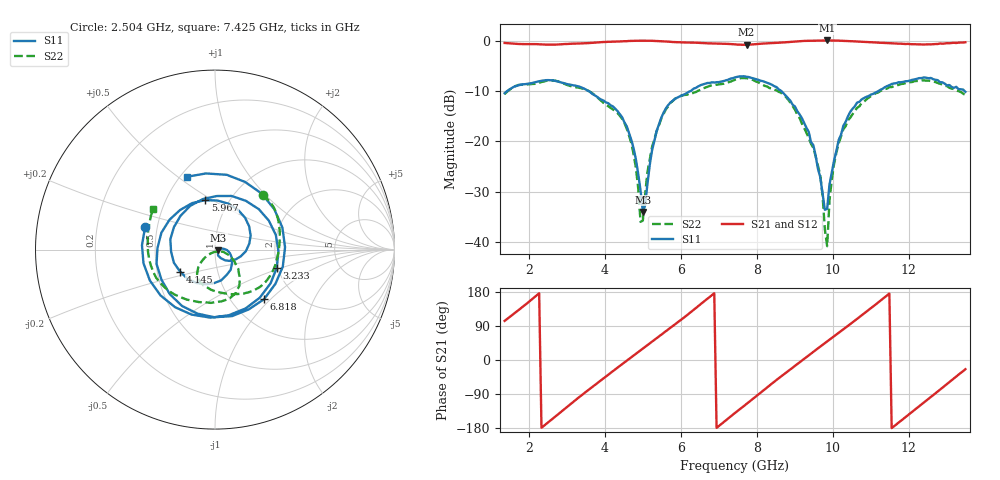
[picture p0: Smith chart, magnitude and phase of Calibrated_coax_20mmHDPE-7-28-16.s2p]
!Agilent Technologies,N5230C,MY48100320,A.08.04.10
!Agilent N5230C: A.08.04.10
!Date: Friday, July 29, 2016 03:03:13
!Correction: S11(Full 2 Port(1,2))
!S21(Full 2 Port(1,2))
!S12(Full 2 Port(1,2))
!S22(Full 2 Port(1,2))
!S2P File: Measurements: S11, S21, S12, S22:
# Hz S  dB  R 50
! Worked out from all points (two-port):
!   201 points, 1.35 GHz to 13.5 GHz, reference 50 ohm
!   highest |S21| = 0.13 dB at 9.855 GHz (marker M1); lowest = -0.7 dB at 7.729 GHz (marker M2)
!   |S21| within 3 dB of the highest: start of sweep to end of sweep
!   lowest |S11| = -34.1 dB at 4.995 GHz (marker M3), VSWR 1.04, Z = 52 - j0.387 ohm
!   |S11| at or under -10 dB: start of sweep to 1.408 GHz; 3.574 GHz to 6.235 GHz (2.661 GHz wide, 54.3 % of centre); 8.654 GHz to 11.2 GHz (2.543 GHz wide, 25.6 % of centre)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
!   |S22| runs from -40.9 to -7.3 dB; largest |S21 - S12| = 0.0029
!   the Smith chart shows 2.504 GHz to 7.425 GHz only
!   S11 on the Smith chart (normalised r, x): 2.504 GHz: 0.43, +0.13; 3.233 GHz: 1.98, -0.46; 4.145 GHz: 0.66, -0.17; 5.967 GHz: 0.78, +0.46; 6.818 GHz: 1.40, -0.91; 7.425 GHz: 0.54, +0.54
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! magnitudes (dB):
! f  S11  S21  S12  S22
! 1.35 GHz  -10.4  -0.4  -0.4  -10.6
! 2.504 GHz  -7.8  -0.7  -0.7  -7.8
! 3.233 GHz  -8.9  -0.5  -0.5  -9.2
! 3.416 GHz  -9.4  -0.5  -0.4  -9.5
! 4.145 GHz  -12.8  -0.1  -0.1  -13.3
! 4.691 GHz  -19.7  0.0  0.0  -20.4
! 4.934 GHz  -29.7  0.1  0.1  -36.0
! 4.995 GHz  -34.1  0.1  0.1  -35.8
! 5.117 GHz  -28.4  0.1  0.1  -26.1
! 5.42 GHz  -16.6  0.0  0.0  -16.7
! 5.967 GHz  -11.0  -0.2  -0.2  -11.0
! 6.818 GHz  -8.2  -0.5  -0.5  -8.8
! 7.425 GHz  -7.2  -0.6  -0.6  -7.7
! 7.729 GHz  -7.1  -0.7  -0.7  -7.4
! 8.762 GHz  -10.9  -0.2  -0.2  -11.1
! 9.491 GHz  -20.7  0.1  0.1  -21.3
! 9.673 GHz  -27.1  0.1  0.1  -26.7
! 9.855 GHz  -33.4  0.1  0.1  -40.9
! 9.977 GHz  -26.2  0.1  0.1  -27.6
! 10.28 GHz  -16.9  0.1  0.1  -17.6
! 11.5 GHz  -8.8  -0.4  -0.4  -9.2
! 13.5 GHz  -10.1  -0.2  -0.2  -10.8
